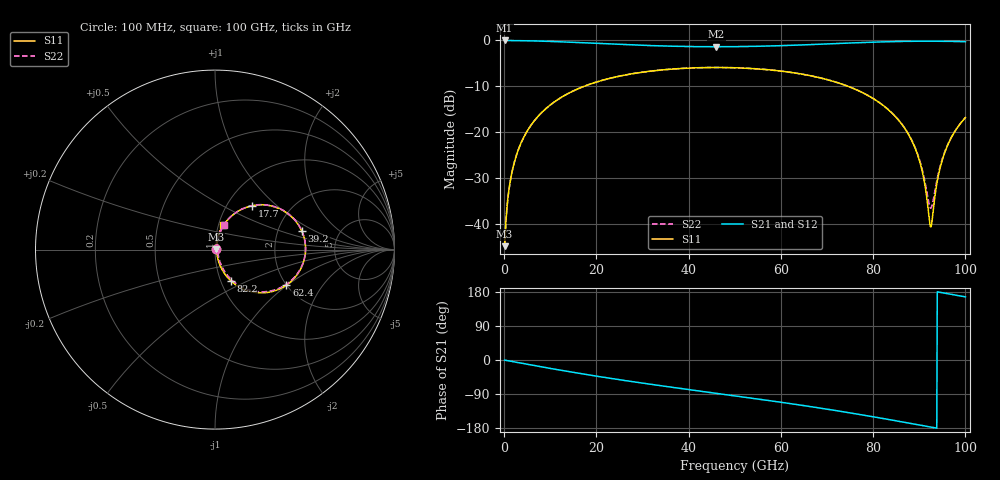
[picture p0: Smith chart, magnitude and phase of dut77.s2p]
! Touchstone file exported from HFSS 2026.1.0
!  File:  C:/ffzhzh/LocalFiles/Ansys_Project_Files/temp_train_RDL_77_1783498714_41296.aedt
!  Generated:  04:19:58 PM Jul  8, 2026
!  Design:  RDL
!  Project:  temp_train_RDL_77_1783498714_41296
! Variables:
!  h_bsmrdl = 2um
!  h_ox = 20um
!  h_rdl = 5um
!  h_sub = 80um
!  h_tmrdl = 2um
!  h_tsv = 80um
!  h_via = 3um
!  l_bsmrdl = 300um
!  l_sub = 1038.83um
!  l_tmrdl = 638.83um
!  m_sub = 200um
!  pitch = 43.25um
!  r_tsv = 6um
!  s_tmrdl = 10um
!  w_bsmrdl = 18um
!  w_sub = 500um
!  w_tmrdl = 23.4um
!  x_tsv_center1 = 650.53um
!  x_tsv_center2 = 968.53um
!  x_tsv_center3 = 1630.76um
!  x_tsv_center4 = 1948.76um
!  x_tsv_center5 = 2610.99um
!  x_tsv_center6 = 2928.99um
# GHz S MA R 50.000000
! Terminal data exported
! Port[1] = TM_RDL1_1_T1
! Port[2] = TM_RDL1_1_T2
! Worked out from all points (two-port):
!   1000 points, 100 MHz to 100 GHz, reference 50 ohm
!   highest |S21| = -0.04 dB at 100 MHz (marker M1); lowest = -1.4 dB at 46 GHz (marker M2)
!   |S21| within 3 dB of the highest: start of sweep to end of sweep
!   lowest |S11| = -44.9 dB at 100 MHz (marker M3), VSWR 1.01, Z = 50.5 + j0.238 ohm
!   |S11| at or under -10 dB: start of sweep to 17.46 GHz; 74.43 GHz to end of sweep
!   |S22| runs from -44.9 to -5.9 dB; largest |S21 - S12| = 1.7e-14
!   S11 on the Smith chart (normalised r, x): 100 MHz: 1.01, +0.00; 17.7 GHz: 1.30, +0.71; 39.2 GHz: 2.73, +0.73; 62.4 GHz: 2.00, -0.99; 82.2 GHz: 1.12, -0.40; 100 GHz: 1.05, +0.29
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0.1  0.005667 24.6  0.9949 -0.2  0.9949 -0.2  0.005667 24.6
! Gamma 0 0 0 0
! Port Impedance 50 0 50 0
1  0.02259 70.8  0.9932 -2.3  0.9932 -2.3  0.02259 70.8
1.7  0.03646 75.0  0.9923 -3.9  0.9923 -3.9  0.03646 75.0
4.4  0.09036 75.1  0.9882 -9.9  0.9882 -9.9  0.09036 75.2
9.3  0.1841 66.5  0.9739 -20.7  0.9739 -20.7  0.1841 66.6
16.8  0.3069 51.6  0.9405 -36.3  0.9405 -36.3  0.3069 51.8
17.7  0.3196 49.8  0.9361 -38.1  0.9361 -38.1  0.3196 50.0
33.4  0.4702 21.5  0.8692 -66.9  0.8692 -66.9  0.4702 21.9
39.2  0.4948 11.8  0.8556 -76.7  0.8556 -76.7  0.4948 12.4
46  0.5045 0.8  0.8498 -87.9  0.8498 -87.9  0.5046 1.4
50.1  0.5008 -5.9  0.8519 -94.7  0.8519 -94.7  0.5009 -5.1
62.4  0.4444 -26.4  0.8809 -115.7  0.8809 -115.7  0.4444 -25.5
66.7  0.4073 -34.1  0.8975 -123.5  0.8975 -123.5  0.4074 -32.9
82.2  0.194 -63.3  0.9607 -154.5  0.9607 -154.5  0.1944 -61.1
83.4  0.1729 -65.5  0.9643 -157.0  0.9643 -157.0  0.1732 -63.1
86.8  0.1103 -71.1  0.9722 -164.4  0.9722 -164.4  0.1109 -67.6
89.3  0.06276 -72.9  0.9755 -169.9  0.9755 -169.9  0.06381 -67.3
90.7  0.0361 -69.6  0.9765 -173.0  0.9765 -173.0  0.03789 -60.8
92.5  0.00917 2.9  0.9766 -177.0  0.9766 -177.0  0.01471 3.1
94.1  0.03267 71.9  0.9757 179.4  0.9757 179.4  0.03462 63.8
95.3  0.05534 76.1  0.9744 176.8  0.9744 176.8  0.05651 71.3
100  0.1431 71.7  0.9648 166.5  0.9648 166.5  0.1436 70.4
